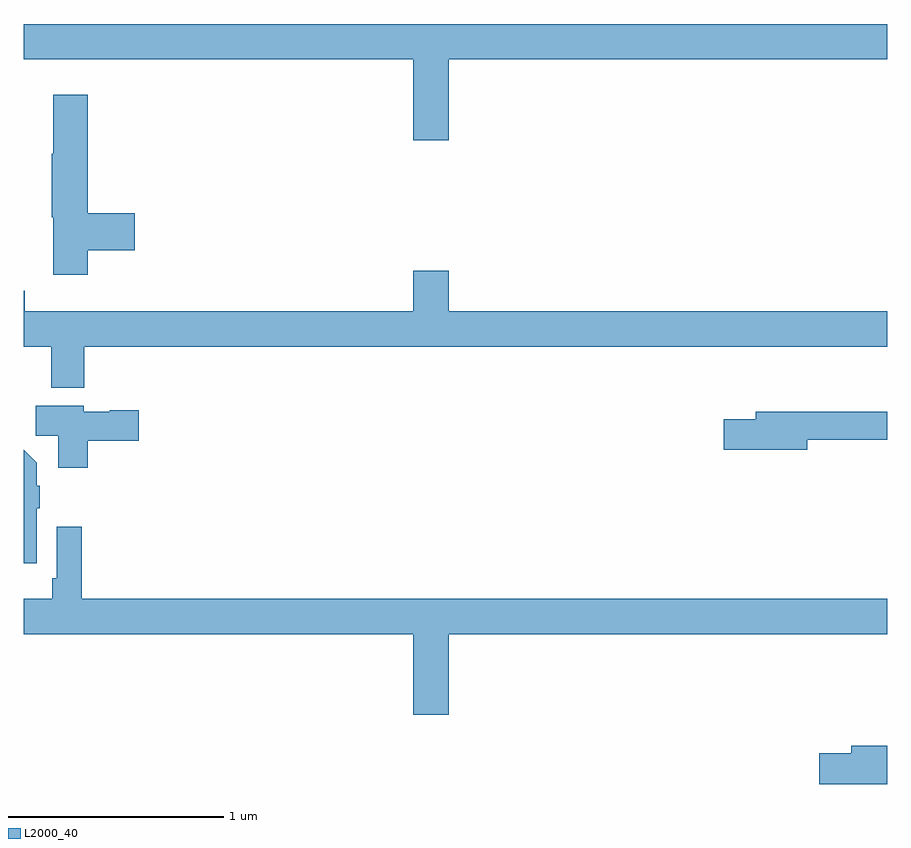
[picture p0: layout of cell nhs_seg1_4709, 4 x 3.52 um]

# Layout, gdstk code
import gdstk
lib = gdstk.Library(unit=1e-6, precision=1e-09)
def P(c, l, *ps):  # polygons
    for p in ps: c.add(gdstk.Polygon(p, *l))
L2000_40 = (2000, 40)

nhs_seg1_4709 = lib.new_cell('nhs_seg1_4709')
P(nhs_seg1_4709, L2000_40, [(368.968,519.764),(371,519.764),(371,519.928),(367,519.928),(367,519.764),(368.804,519.764),(368.804,519.39),(368.968,519.39)],
  [(367.295,518.879),(367.513,518.879),(367.513,519.05),(367.295,519.05),(367.295,519.601),(367.136,519.601),(367.136,519.326),(367.129,519.326),(367.129,519.033),(367.136,519.033),(367.136,518.766),(367.295,518.766)],
  [(367.004,518.692),(367,518.692),(367,518.432),(367.127,518.432),(367.127,518.243),(367.28,518.243),(367.28,518.432),(371,518.432),(371,518.596),(368.968,518.596),(368.968,518.785),(368.804,518.785),(368.804,518.596),(367.004,518.596)],
  [(367.295,517.996),(367.531,517.996),(367.531,518.139),(367.398,518.139),(367.398,518.131),(367.278,518.131),(367.278,518.158),(367.055,518.158),(367.055,518.02),(367.16,518.02),(367.16,517.871),(367.295,517.871)],
  [(370.63,518.002),(371,518.002),(371,518.131),(370.391,518.131),(370.391,518.097),(370.242,518.097),(370.242,517.955),(370.63,517.955)],
  [(367.06,517.684),(367.073,517.684),(367.073,517.787),(367.06,517.787),(367.06,517.894),(367,517.954),(367,517.428),(367.06,517.428)],
  [(368.968,517.1),(371,517.1),(371,517.264),(367.268,517.264),(367.268,517.597),(367.152,517.597),(367.152,517.36),(367.132,517.36),(367.132,517.264),(367,517.264),(367,517.1),(368.804,517.1),(368.804,516.726),(368.968,516.726)],
  [(371,516.584),(370.835,516.584),(370.835,516.548),(370.686,516.548),(370.686,516.406),(371,516.406)])

lib.write_gds('nhs_seg1_4709.gds')
